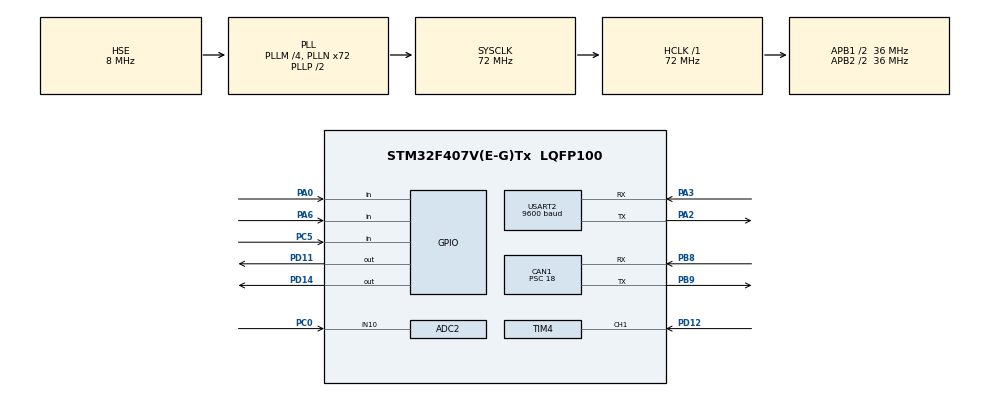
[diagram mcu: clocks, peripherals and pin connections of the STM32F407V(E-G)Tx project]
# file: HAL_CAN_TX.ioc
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ADC2.Channel-0\#ChannelRegularConversion=ADC_CHANNEL_10
ADC2.NbrOfConversionFlag=1
ADC2.Rank-0\#ChannelRegularConversion=1
ADC2.SamplingTime-0\#ChannelRegularConversion=ADC_SAMPLETIME_3CYCLES
CAN1.BS1=CAN_BS1_2TQ
CAN1.CalculateBaudRate=500000
CAN1.CalculateTimeBit=2000
CAN1.CalculateTimeQuantum=500.0
CAN1.Prescaler=18
Mcu.Family=STM32F4
Mcu.Name=STM32F407V(E-G)Tx
Mcu.Package=LQFP100
NVIC.CAN1_RX0_IRQn=true\:0\:0\:false\:false\:true\:true\:true\:true
NVIC.PriorityGroup=NVIC_PRIORITYGROUP_0
NVIC.TIM4_IRQn=true\:0\:0\:false\:false\:true\:true\:true\:true
PA0-WKUP.Signal=GPIO_Input
PA2.Mode=Asynchronous
PA2.Signal=USART2_TX
PA3.Mode=Asynchronous
PA3.Signal=USART2_RX
PA6.Signal=GPIO_Input
PB8.Mode=CAN_Activate
PB8.Signal=CAN1_RX
PB9.Mode=CAN_Activate
PB9.Signal=CAN1_TX
PC0.Signal=ADCx_IN10
PC5.Signal=GPIO_Input
PD11.Signal=GPIO_Output
PD12.Signal=S_TIM4_CH1
PD14.Signal=GPIO_Output
PH0-OSC_IN.Mode=HSE-External-Oscillator
PH0-OSC_IN.Signal=RCC_OSC_IN
PH1-OSC_OUT.Mode=HSE-External-Oscillator
PH1-OSC_OUT.Signal=RCC_OSC_OUT
ProjectManager.HeapSize=0x200
ProjectManager.StackSize=0x400
ProjectManager.TargetToolchain=STM32CubeIDE
RCC.48MHZClocksFreq_Value=20571428.57142857
RCC.AHBFreq_Value=72000000
RCC.APB1CLKDivider=RCC_HCLK_DIV2
RCC.APB1Freq_Value=36000000
RCC.APB1TimFreq_Value=72000000
RCC.APB2CLKDivider=RCC_HCLK_DIV2
RCC.APB2Freq_Value=36000000
RCC.APB2TimFreq_Value=72000000
RCC.CortexFreq_Value=72000000
RCC.HCLKFreq_Value=72000000
RCC.HSE_VALUE=8000000
RCC.HSI_VALUE=16000000
RCC.LSE_VALUE=32768
RCC.PLLM=4
RCC.PLLN=72
RCC.PLLQ=7
RCC.PLLSourceVirtual=RCC_PLLSOURCE_HSE
RCC.SYSCLKFreq_VALUE=72000000
RCC.SYSCLKSource=RCC_SYSCLKSOURCE_PLLCLK
RCC.VCOOutputFreq_Value=144000000
SH.ADCx_IN10.0=ADC2_IN10,IN10
SH.S_TIM4_CH1.0=TIM4_CH1,Input_Capture1_from_TI1
TIM4.Channel-Input_Capture1_from_TI1=TIM_CHANNEL_1
TIM4.Prescaler=84-1
USART2.BaudRate=9600
USART2.VirtualMode=VM_ASYNC
VP_TIM4_VS_ClockSourceINT.Mode=Internal
board=STM32F407G-DISC1

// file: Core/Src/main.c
/* USER CODE BEGIN Header */
/**
  ******************************************************************************
  * @file           : main.c
  * @brief          : Main program body
  ******************************************************************************
  * @attention
  *
  * Copyright (c) 2024 STMicroelectronics.
  * All rights reserved.
  *
  * This software is licensed under terms that can be found in the LICENSE file
  * in the root directory of this software component.
  * If no LICENSE file comes with this software, it is provided AS-IS.
  *
  ******************************************************************************
  */
/* USER CODE END Header */
#include "main.h"

/* USER CODE BEGIN Includes */
#include <stdio.h>
#include <string.h>
/* USER CODE END Includes */

/* USER CODE BEGIN PD */
#define ULTRASONIC_TRIGGER_PORT		GPIOD
#define ULTRASONIC_TRIGGER_PIN		GPIO_PIN_11
#define ULTRASONIC_ECHO_PIN_IC		&htim4			//GPIO_PIN_12
#define MQ3_PORT GPIOC
#define MQ3_PIN  GPIO_PIN_5
#define FSR_THRESHOLD  100   // adjust experimentally

/* USER CODE END PD */

ADC_HandleTypeDef hadc2;

CAN_HandleTypeDef hcan1;

TIM_HandleTypeDef htim4;

UART_HandleTypeDef huart2;

/* USER CODE BEGIN PV */
CAN_TxHeaderTypeDef TxHeader;
uint8_t TxData[8]={0};
uint32_t TxMailBox;
uint16_t fsr_adc;
uint8_t fsr_status;
//.....................................
uint16_t distance = 0;
uint8_t isReadingFinished = 0;
uint8_t isRisingCaptured = 0;
uint32_t InputCaptureValue_1 = 0;
uint32_t InputCaptureValue_2 = 0;
uint32_t InputCaptureDifference = 0;

/* USER CODE END PV */

void SystemClock_Config(void);
static void MX_GPIO_Init(void);
static void MX_CAN1_Init(void);
static void MX_TIM4_Init(void);
static void MX_USART2_UART_Init(void);
static void MX_ADC2_Init(void);

/* USER CODE BEGIN 0 */

void Ultrasonic_distance(void)
{
	//Send Trigger Signal to ultrasonic trigger pin
	HAL_GPIO_WritePin(ULTRASONIC_TRIGGER_PORT, ULTRASONIC_TRIGGER_PIN, GPIO_PIN_SET);
	HAL_Delay(10);
	HAL_GPIO_WritePin(ULTRASONIC_TRIGGER_PORT, ULTRASONIC_TRIGGER_PIN, GPIO_PIN_RESET);
	//Enable Timer counter
	__HAL_TIM_ENABLE_IT(ULTRASONIC_ECHO_PIN_IC, TIM_IT_CC1);
}

void HAL_TIM_IC_CaptureCallback(TIM_HandleTypeDef *htim)
{
	//Capture Rising Edge
	if(isRisingCaptured == 0)
	{
		InputCaptureValue_1 = HAL_TIM_ReadCapturedValue(&htim4, TIM_CHANNEL_1);
		isRisingCaptured = 1;
		__HAL_TIM_SET_CAPTUREPOLARITY(&htim4, TIM_CHANNEL_1, TIM_INPUTCHANNELPOLARITY_FALLING);
	}
	//Capture Falling Edge
	else if(isRisingCaptured == 1)
	{
		InputCaptureValue_2 = HAL_TIM_ReadCapturedValue(&htim4, TIM_CHANNEL_1);
		__HAL_TIM_SET_COUNTER(&htim4, 0);

		if(InputCaptureValue_2 > InputCaptureValue_1)
		{
			InputCaptureDifference = InputCaptureValue_2 - InputCaptureValue_1;
		}
		else if(InputCaptureValue_1 > InputCaptureValue_2)
		{
			InputCaptureDifference = (0xFFFF - InputCaptureValue_1) + InputCaptureValue_2;
		}

		distance = InputCaptureDifference * 0.0173;

		isReadingFinished = 1;

		isRisingCaptured = 0;

		__HAL_TIM_SET_CAPTUREPOLARITY(&htim4, TIM_CHANNEL_1, TIM_INPUTCHANNELPOLARITY_RISING);
		__HAL_TIM_DISABLE_IT(&htim4, TIM_IT_CC1);

	}

}

void Read_Ultrasonic(void)
{
	Ultrasonic_distance();  // Triggers ultrasonic and handles capture via ISR
	while (!isReadingFinished); // Wait for measurement to complete
	isReadingFinished = 0;
}

uint8_t Read_MQ3_Digital(void)
{
    if(HAL_GPIO_ReadPin(MQ3_PORT, MQ3_PIN) == GPIO_PIN_SET)
        return 1;
    else
        return 0;
}

uint16_t Read_FSR_ADC(void)
{
    HAL_ADC_Start(&hadc2);
    HAL_ADC_PollForConversion(&hadc2, HAL_MAX_DELAY);
    uint16_t val = HAL_ADC_GetValue(&hadc2);
    HAL_ADC_Stop(&hadc2);
    return val;
}

/* USER CODE END 0 */

int main(void)
{

  /* MCU Configuration--------------------------------------------------------*/

  /* Reset of all peripherals, Initializes the Flash interface and the Systick. */
  HAL_Init();

  /* Configure the system clock */
  SystemClock_Config();

  /* Initialize all configured peripherals */
  MX_GPIO_Init();
  MX_CAN1_Init();
  MX_TIM4_Init();
  MX_USART2_UART_Init();
  MX_ADC2_Init();
  /* USER CODE BEGIN 2 */
  HAL_CAN_Start(&hcan1);
  HAL_TIM_IC_Start_IT(&htim4, TIM_CHANNEL_1);
  /* USER CODE END 2 */

  /* Infinite loop */
  /* USER CODE BEGIN WHILE */
	TxHeader.DLC = 6;
	TxHeader.RTR = CAN_RTR_DATA;
	TxHeader.IDE = CAN_ID_STD;
	TxHeader.StdId = 0x0A9;
	TxHeader.ExtId = 0x0000;
	TxHeader.TransmitGlobalTime = DISABLE;
  while (1)
  {
    /* USER CODE END WHILE */

    /* USER CODE BEGIN 3 */
	  Read_Ultrasonic();
	  uint8_t gas_state = Read_MQ3_Digital();
	  fsr_adc = Read_FSR_ADC();
	  if(fsr_adc > FSR_THRESHOLD)
	      fsr_status = 1;
	  else
	      fsr_status = 0;

	 TxData[0] = (uint8_t)(distance >> 8);
	 TxData[1] = (uint8_t)(distance & 0xFF);
	 TxData[2] = gas_state;
	 TxData[3] = fsr_status;
	 TxData[4] = fsr_adc >> 8;
	 TxData[5] = fsr_adc & 0xFF;

 	if(HAL_CAN_AddTxMessage(&hcan1, &TxHeader, TxData, &TxMailBox) != HAL_OK)
				Error_Handler();
	HAL_Delay(1000);
  }
  /* USER CODE END 3 */
}

void SystemClock_Config(void)
{
  RCC_OscInitTypeDef RCC_OscInitStruct = {0};
  RCC_ClkInitTypeDef RCC_ClkInitStruct = {0};

  /** Configure the main internal regulator output voltage
  */
  __HAL_RCC_PWR_CLK_ENABLE();
  __HAL_PWR_VOLTAGESCALING_CONFIG(PWR_REGULATOR_VOLTAGE_SCALE1);

  /** Initializes the RCC Oscillators according to the specified parameters
  * in the RCC_OscInitTypeDef structure.
  */
  RCC_OscInitStruct.OscillatorType = RCC_OSCILLATORTYPE_HSE;
  RCC_OscInitStruct.HSEState = RCC_HSE_ON;
  RCC_OscInitStruct.PLL.PLLState = RCC_PLL_ON;
  RCC_OscInitStruct.PLL.PLLSource = RCC_PLLSOURCE_HSE;
  RCC_OscInitStruct.PLL.PLLM = 4;
  RCC_OscInitStruct.PLL.PLLN = 72;
  RCC_OscInitStruct.PLL.PLLP = RCC_PLLP_DIV2;
  RCC_OscInitStruct.PLL.PLLQ = 7;
  if (HAL_RCC_OscConfig(&RCC_OscInitStruct) != HAL_OK)
  {
    Error_Handler();
  }

  /** Initializes the CPU, AHB and APB buses clocks
  */
  RCC_ClkInitStruct.ClockType = RCC_CLOCKTYPE_HCLK|RCC_CLOCKTYPE_SYSCLK
                              |RCC_CLOCKTYPE_PCLK1|RCC_CLOCKTYPE_PCLK2;
  RCC_ClkInitStruct.SYSCLKSource = RCC_SYSCLKSOURCE_PLLCLK;
  RCC_ClkInitStruct.AHBCLKDivider = RCC_SYSCLK_DIV1;
  RCC_ClkInitStruct.APB1CLKDivider = RCC_HCLK_DIV2;
  RCC_ClkInitStruct.APB2CLKDivider = RCC_HCLK_DIV2;

  if (HAL_RCC_ClockConfig(&RCC_ClkInitStruct, FLASH_LATENCY_2) != HAL_OK)
  {
    Error_Handler();
  }
}

static void MX_ADC2_Init(void)
{

  ADC_ChannelConfTypeDef sConfig = {0};

  /** Configure the global features of the ADC (Clock, Resolution, Data Alignment and number of conversion)
  */
  hadc2.Instance = ADC2;
  hadc2.Init.ClockPrescaler = ADC_CLOCK_SYNC_PCLK_DIV2;
  hadc2.Init.Resolution = ADC_RESOLUTION_12B;
  hadc2.Init.ScanConvMode = DISABLE;
  hadc2.Init.ContinuousConvMode = DISABLE;
  hadc2.Init.DiscontinuousConvMode = DISABLE;
  hadc2.Init.ExternalTrigConvEdge = ADC_EXTERNALTRIGCONVEDGE_NONE;
  hadc2.Init.ExternalTrigConv = ADC_SOFTWARE_START;
  hadc2.Init.DataAlign = ADC_DATAALIGN_RIGHT;
  hadc2.Init.NbrOfConversion = 1;
  hadc2.Init.DMAContinuousRequests = DISABLE;
  hadc2.Init.EOCSelection = ADC_EOC_SINGLE_CONV;
  if (HAL_ADC_Init(&hadc2) != HAL_OK)
  {
    Error_Handler();
  }

  /** Configure for the selected ADC regular channel its corresponding rank in the sequencer and its sample time.
  */
  sConfig.Channel = ADC_CHANNEL_10;
  sConfig.Rank = 1;
  sConfig.SamplingTime = ADC_SAMPLETIME_3CYCLES;
  if (HAL_ADC_ConfigChannel(&hadc2, &sConfig) != HAL_OK)
  {
    Error_Handler();
  }

}

static void MX_CAN1_Init(void)
{

  hcan1.Instance = CAN1;
  hcan1.Init.Prescaler = 18;
  hcan1.Init.Mode = CAN_MODE_NORMAL;
  hcan1.Init.SyncJumpWidth = CAN_SJW_1TQ;
  hcan1.Init.TimeSeg1 = CAN_BS1_2TQ;
  hcan1.Init.TimeSeg2 = CAN_BS2_1TQ;
  hcan1.Init.TimeTriggeredMode = DISABLE;
  hcan1.Init.AutoBusOff = DISABLE;
  hcan1.Init.AutoWakeUp = DISABLE;
  hcan1.Init.AutoRetransmission = DISABLE;
  hcan1.Init.ReceiveFifoLocked = DISABLE;
  hcan1.Init.TransmitFifoPriority = DISABLE;
  if (HAL_CAN_Init(&hcan1) != HAL_OK)
  {
    Error_Handler();
  }
  /* USER CODE BEGIN CAN1_Init 2 */
  CAN_FilterTypeDef FilterConfig;
  //FilterConfig.SlaveStartFilterBank = 9;
  FilterConfig.FilterActivation = CAN_FILTER_ENABLE;
  FilterConfig.FilterBank = 0;
  FilterConfig.FilterScale = CAN_FILTERSCALE_32BIT;
  FilterConfig.FilterMode = CAN_FILTERMODE_IDMASK;
  FilterConfig.FilterMaskIdHigh = 0xFF00;
  FilterConfig.FilterMaskIdLow = 0x0000;
  FilterConfig.FilterIdHigh = 0x1500;
  FilterConfig.FilterIdLow = 0x0000;
  FilterConfig.FilterFIFOAssignment = CAN_RX_FIFO0;

  if(HAL_CAN_ConfigFilter(&hcan1, &FilterConfig) != HAL_OK)
	   Error_Handler();
  /* USER CODE END CAN1_Init 2 */

}

static void MX_TIM4_Init(void)
{

  TIM_ClockConfigTypeDef sClockSourceConfig = {0};
  TIM_MasterConfigTypeDef sMasterConfig = {0};
  TIM_IC_InitTypeDef sConfigIC = {0};

  htim4.Instance = TIM4;
  htim4.Init.Prescaler = 84-1;
  htim4.Init.CounterMode = TIM_COUNTERMODE_UP;
  htim4.Init.Period = 65535;
  htim4.Init.ClockDivision = TIM_CLOCKDIVISION_DIV1;
  htim4.Init.AutoReloadPreload = TIM_AUTORELOAD_PRELOAD_DISABLE;
  if (HAL_TIM_Base_Init(&htim4) != HAL_OK)
  {
    Error_Handler();
  }
  sClockSourceConfig.ClockSource = TIM_CLOCKSOURCE_INTERNAL;
  if (HAL_TIM_ConfigClockSource(&htim4, &sClockSourceConfig) != HAL_OK)
  {
    Error_Handler();
  }
  if (HAL_TIM_IC_Init(&htim4) != HAL_OK)
  {
    Error_Handler();
  }
  sMasterConfig.MasterOutputTrigger = TIM_TRGO_RESET;
  sMasterConfig.MasterSlaveMode = TIM_MASTERSLAVEMODE_DISABLE;
  if (HAL_TIMEx_MasterConfigSynchronization(&htim4, &sMasterConfig) != HAL_OK)
  {
    Error_Handler();
  }
  sConfigIC.ICPolarity = TIM_INPUTCHANNELPOLARITY_RISING;
  sConfigIC.ICSelection = TIM_ICSELECTION_DIRECTTI;
  sConfigIC.ICPrescaler = TIM_ICPSC_DIV1;
  sConfigIC.ICFilter = 0;
  if (HAL_TIM_IC_ConfigChannel(&htim4, &sConfigIC, TIM_CHANNEL_1) != HAL_OK)
  {
    Error_Handler();
  }

}

static void MX_USART2_UART_Init(void)
{

  huart2.Instance = USART2;
  huart2.Init.BaudRate = 9600;
  huart2.Init.WordLength = UART_WORDLENGTH_8B;
  huart2.Init.StopBits = UART_STOPBITS_1;
  huart2.Init.Parity = UART_PARITY_NONE;
  huart2.Init.Mode = UART_MODE_TX_RX;
  huart2.Init.HwFlowCtl = UART_HWCONTROL_NONE;
  huart2.Init.OverSampling = UART_OVERSAMPLING_16;
  if (HAL_UART_Init(&huart2) != HAL_OK)
  {
    Error_Handler();
  }

}

static void MX_GPIO_Init(void)
{
  GPIO_InitTypeDef GPIO_InitStruct = {0};

  /* GPIO Ports Clock Enable */
  __HAL_RCC_GPIOH_CLK_ENABLE();
  __HAL_RCC_GPIOC_CLK_ENABLE();
  __HAL_RCC_GPIOA_CLK_ENABLE();
  __HAL_RCC_GPIOD_CLK_ENABLE();
  __HAL_RCC_GPIOB_CLK_ENABLE();

  /*Configure GPIO pin Output Level */
  HAL_GPIO_WritePin(GPIOD, GPIO_PIN_11|GPIO_PIN_14, GPIO_PIN_RESET);

  /*Configure GPIO pins : PA0 PA6 */
  GPIO_InitStruct.Pin = GPIO_PIN_0|GPIO_PIN_6;
  GPIO_InitStruct.Mode = GPIO_MODE_INPUT;
  GPIO_InitStruct.Pull = GPIO_NOPULL;
  HAL_GPIO_Init(GPIOA, &GPIO_InitStruct);

  /*Configure GPIO pin : PC5 */
  GPIO_InitStruct.Pin = GPIO_PIN_5;
  GPIO_InitStruct.Mode = GPIO_MODE_INPUT;
  GPIO_InitStruct.Pull = GPIO_NOPULL;
  HAL_GPIO_Init(GPIOC, &GPIO_InitStruct);

  /*Configure GPIO pins : PD11 PD14 */
  GPIO_InitStruct.Pin = GPIO_PIN_11|GPIO_PIN_14;
  GPIO_InitStruct.Mode = GPIO_MODE_OUTPUT_PP;
  GPIO_InitStruct.Pull = GPIO_NOPULL;
  GPIO_InitStruct.Speed = GPIO_SPEED_FREQ_LOW;
  HAL_GPIO_Init(GPIOD, &GPIO_InitStruct);

}

void Error_Handler(void)
{
  __disable_irq();
  while (1)
  {
  }
}
